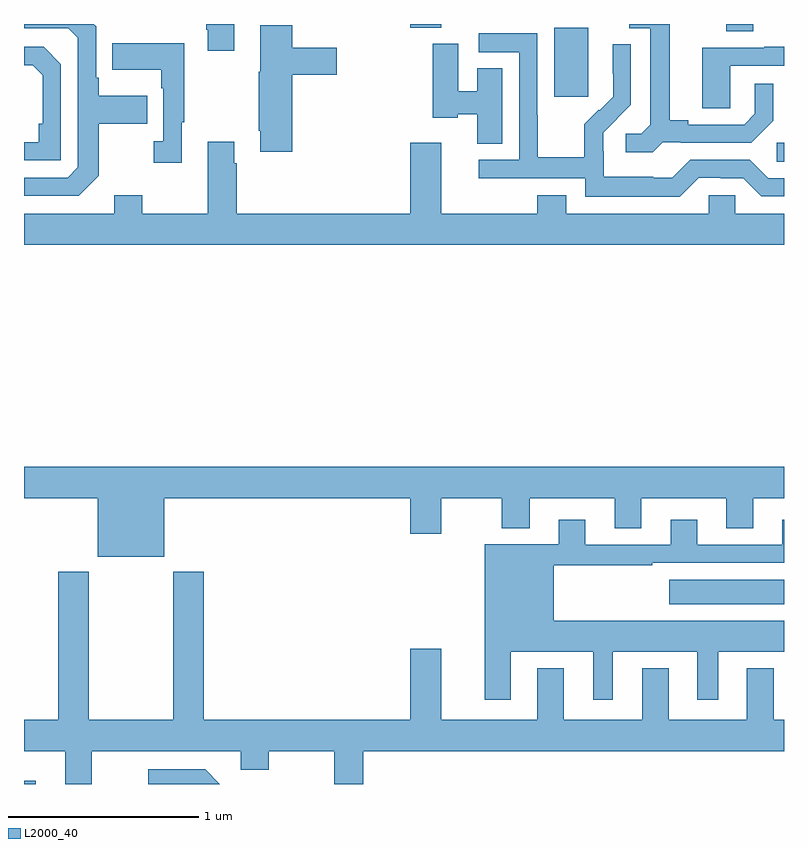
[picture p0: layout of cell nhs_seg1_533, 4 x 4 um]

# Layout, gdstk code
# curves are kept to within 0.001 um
import gdstk
lib = gdstk.Library(unit=1e-6, precision=1e-09)
def R(c, l, rs):  # rectangles x0, y0, x1, y1
    for r in rs: c.add(gdstk.rectangle(r[:2], r[2:], *l))
def P(c, l, *ps):  # polygons
    for p in ps: c.add(gdstk.Polygon(p, *l))
L2000_40 = (2000, 40)

nhs_seg1_533 = lib.new_cell('nhs_seg1_533')
R(nhs_seg1_533, L2000_40, [(139,578.199,139.063,578.215), (142.395,579.146,143,579.274), (142.962,581.473,143,581.574), (141.791,581.817,141.97,582.178), (142.697,582.16,142.837,582.199), (141.032,582.18,141.196,582.199)])
P(nhs_seg1_533, L2000_40, [(139.393,581.401),(139.393,581.674),(139.649,581.674),(139.649,581.821),(139.393,581.821),(139.393,581.917),(139.38,581.917),(139.38,582.186),(139.367,582.199),(139,582.199),(139,582.177),(139.233,582.177),(139.284,582.126),(139.284,581.445),(139.23,581.391),(139,581.391),(139,581.295),(139.287,581.295)],
  [(140.107,582.199),(139.96,582.199),(139.96,582.169),(139.967,582.169),(139.967,582.057),(140.107,582.057)],
  [(142.362,581.577),(142.456,581.577),(142.456,581.574),(142.828,581.574),(142.944,581.69),(142.944,581.884),(142.847,581.884),(142.847,581.727),(142.79,581.67),(142.495,581.67),(142.495,581.693),(142.399,581.693),(142.399,582.199),(142.185,582.199),(142.185,582.177),(142.295,582.177),(142.295,581.669),(142.248,581.622),(142.167,581.622),(142.167,581.525),(142.31,581.525)],
  [(140.411,581.933),(140.647,581.933),(140.647,582.075),(140.411,582.075),(140.411,582.193),(140.243,582.193),(140.243,581.949),(140.236,581.949),(140.236,581.638),(140.243,581.638),(140.243,581.526),(140.411,581.526)],
  [(142.551,581.391),(142.667,581.391),(142.667,581.388),(142.785,581.388),(142.881,581.292),(143,581.292),(143,581.388),(142.917,581.388),(142.821,581.484),(142.506,581.484),(142.413,581.391),(142.313,581.391),(142.313,581.395),(142.05,581.395),(142.05,581.529),(142.048,581.529),(142.048,581.626),(142.194,581.774),(142.194,582.092),(142.098,582.092),(142.098,581.938),(142.1,581.938),(142.1,581.816),(142.029,581.745),(142.026,581.748),(141.949,581.671),(141.949,581.497),(141.705,581.497),(141.705,581.72),(141.702,581.72),(141.702,582.15),(141.393,582.15),(141.393,582.051),(141.606,582.051),(141.606,581.484),(141.393,581.484),(141.393,581.388),(141.954,581.388),(141.954,581.291),(142.451,581.291)],
  [(139.831,581.681),(139.843,581.681),(139.843,582.097),(139.465,582.097),(139.465,581.957),(139.722,581.957),(139.722,581.861),(139.734,581.861),(139.734,581.582),(139.683,581.582),(139.683,581.469),(139.831,581.469)],
  [(141.517,581.966),(141.386,581.966),(141.386,581.845),(141.286,581.845),(141.286,582.094),(141.152,582.094),(141.152,581.705),(141.282,581.705),(141.282,581.723),(141.386,581.723),(141.386,581.569),(141.517,581.569)],
  [(142.716,581.979),(143,581.979),(143,582.079),(142.895,582.079),(142.895,582.075),(142.571,582.075),(142.571,581.755),(142.716,581.755)],
  [(139.194,581.988),(139.104,582.078),(139,582.078),(139,581.981),(139.045,581.981),(139.098,581.928),(139.098,581.674),(139.078,581.674),(139.078,581.577),(139,581.577),(139,581.481),(139.194,581.481)],
  [(140.107,581.465),(140.107,581.578),(139.967,581.578),(139.967,581.2),(139.623,581.2),(139.623,581.299),(139.475,581.299),(139.475,581.2),(139,581.2),(139,581.036),(143,581.036),(143,581.2),(142.743,581.2),(142.743,581.298),(142.605,581.298),(142.605,581.2),(141.853,581.2),(141.853,581.299),(141.701,581.299),(141.701,581.2),(141.196,581.2),(141.196,581.575),(141.032,581.575),(141.032,581.2),(140.12,581.2),(140.12,581.465)],
  [(139.738,579.704),(141.032,579.704),(141.032,579.516),(141.196,579.516),(141.196,579.704),(141.514,579.704),(141.514,579.545),(141.661,579.545),(141.661,579.704),(142.109,579.704),(142.109,579.544),(142.249,579.544),(142.249,579.704),(142.697,579.704),(142.697,579.544),(142.837,579.544),(142.837,579.704),(143,579.704),(143,579.868),(139,579.868),(139,579.704),(139.388,579.704),(139.388,579.395),(139.738,579.395)],
  [(141.562,578.894),(141.995,578.894),(141.995,578.643),(142.099,578.643),(142.099,578.894),(142.544,578.894),(142.544,578.643),(142.654,578.643),(142.654,578.894),(143,578.894),(143,579.058),(141.787,579.058),(141.787,579.351),(142.307,579.351),(142.307,579.363),(143,579.363),(143,579.589),(142.991,579.589),(142.991,579.459),(142.543,579.459),(142.543,579.589),(142.403,579.589),(142.403,579.459),(141.955,579.459),(141.955,579.589),(141.815,579.589),(141.815,579.46),(141.425,579.46),(141.425,578.643),(141.562,578.643)],
  [(139.357,578.372),(140.141,578.372),(140.141,578.273),(140.289,578.273),(140.289,578.372),(140.633,578.372),(140.633,578.199),(140.786,578.199),(140.786,578.372),(143,578.372),(143,578.536),(142.945,578.536),(142.945,578.809),(142.805,578.809),(142.805,578.536),(142.393,578.536),(142.393,578.809),(142.253,578.809),(142.253,578.536),(141.841,578.536),(141.841,578.809),(141.701,578.809),(141.701,578.536),(141.196,578.536),(141.196,578.911),(141.032,578.911),(141.032,578.536),(139.946,578.536),(139.946,579.316),(139.786,579.316),(139.786,578.536),(139.341,578.536),(139.341,579.316),(139.181,579.316),(139.181,578.536),(139,578.536),(139,578.372),(139.217,578.372),(139.217,578.199),(139.357,578.199)],
  [(139.953,578.277),(139.653,578.277),(139.653,578.199),(140.031,578.199)])

lib.write_gds('nhs_seg1_533.gds')
